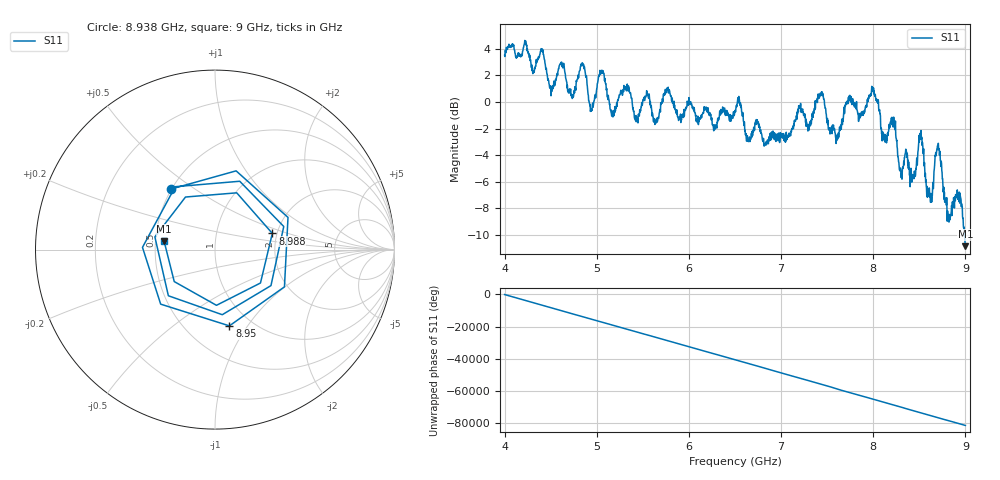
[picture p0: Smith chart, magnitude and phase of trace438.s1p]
! Created with skrf 1.8.0 (http://scikit-rf.org).
# Hz S RI R 50.0
!freq ReS11 ImS11
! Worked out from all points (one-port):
!   1601 points, 4 GHz to 9 GHz, reference 50 ohm
!   lowest |S11| = -10.8 dB at 9 GHz (marker M1), VSWR 1.81, Z = 27.8 + j2.8 ohm
!   |S11| at or under -10 dB: 8.990666 GHz to end of sweep
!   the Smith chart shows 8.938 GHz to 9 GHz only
!   S11 on the Smith chart (normalised r, x): 8.938 GHz: 0.50, +0.41; 8.95 GHz: 0.79, -0.83; 8.988 GHz: 1.89, +0.38; 9 GHz: 0.56, +0.06
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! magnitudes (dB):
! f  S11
! 4 GHz  3.5
! 4.406 GHz  3.9
! 4.506 GHz  0.8
! 4.625 GHz  2.7
! 4.734 GHz  0.3
! 4.85 GHz  2.8
! 4.938 GHz  -0.5
! 5.053 GHz  2.4
! 5.169 GHz  -0.7
! 5.25 GHz  0.5
! 5.875 GHz  -1.1
! 6.5 GHz  -0.7
! 6.647 GHz  -3.0
! 7.125 GHz  -2.0
! 7.434 GHz  0.5
! 7.609 GHz  -2.5
! 7.75 GHz  0.2
! 8 GHz  0.8
! 8.375 GHz  -4.7
! 8.441 GHz  -5.8
! 8.516 GHz  -2.3
! 8.616 GHz  -7.2
! 8.7 GHz  -3.3
! 8.819 GHz  -8.9
! 8.938 GHz  -7.6
! 8.95 GHz  -7.3
! 8.988 GHz  -9.6
! 9 GHz  -10.8
